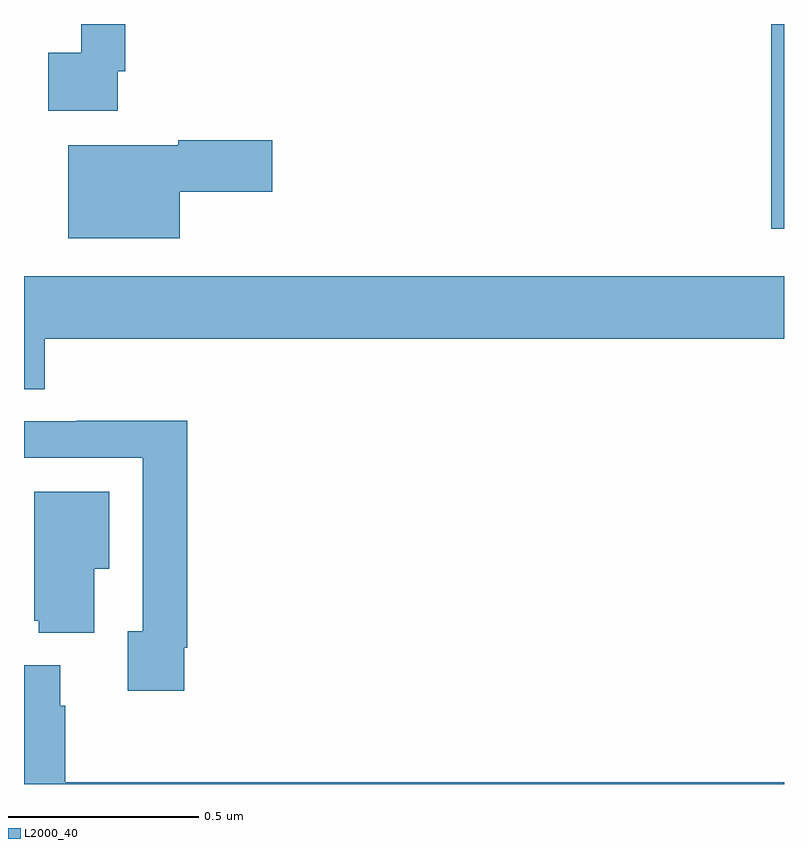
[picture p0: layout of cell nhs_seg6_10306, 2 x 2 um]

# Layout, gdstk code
import gdstk
lib = gdstk.Library(unit=1e-6, precision=1e-09)
def R(c, l, rs):  # rectangles x0, y0, x1, y1
    for r in rs: c.add(gdstk.rectangle(r[:2], r[2:], *l))
def P(c, l, *ps):  # polygons
    for p in ps: c.add(gdstk.Polygon(p, *l))
L2000_40 = (2000, 40)

nhs_seg6_10306 = lib.new_cell('nhs_seg6_10306')
R(nhs_seg6_10306, L2000_40, [(246.966,944.961,247,945.5)])
P(nhs_seg6_10306, L2000_40, [(245.247,945.376),(245.267,945.376),(245.267,945.5),(245.15,945.5),(245.15,945.425),(245.064,945.425),(245.064,945.272),(245.247,945.272)],
  [(245.41,945.059),(245.653,945.059),(245.653,945.194),(245.406,945.194),(245.406,945.181),(245.117,945.181),(245.117,944.936),(245.41,944.936)],
  [(245.054,944.672),(247,944.672),(247,944.836),(245,944.836),(245,944.539),(245.054,944.539)],
  [(245.422,943.858),(245.429,943.858),(245.429,944.456),(245.137,944.456),(245.137,944.454),(245,944.454),(245,944.358),(245.313,944.358),(245.313,943.902),(245.273,943.902),(245.273,943.746),(245.422,943.746)],
  [(245.185,944.066),(245.224,944.066),(245.224,944.269),(245.027,944.269),(245.027,943.929),(245.039,943.929),(245.039,943.898),(245.185,943.898)],
  [(247,943.504),(245.108,943.504),(245.108,943.706),(245.095,943.706),(245.095,943.813),(245,943.813),(245,943.5),(247,943.5)])

lib.write_gds('nhs_seg6_10306.gds')
